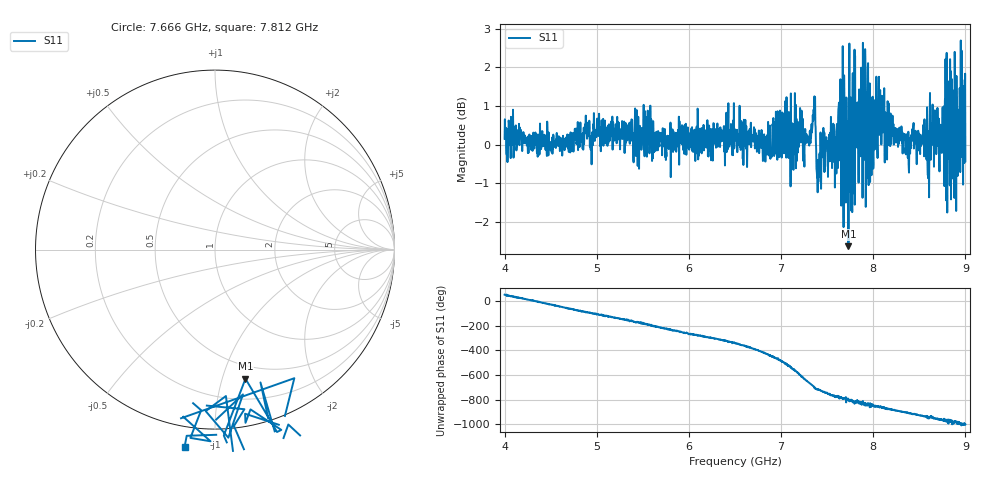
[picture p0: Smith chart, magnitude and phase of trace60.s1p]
! Created with skrf 1.8.0 (http://scikit-rf.org).
# Hz S RI R 50.0
!freq ReS11 ImS11
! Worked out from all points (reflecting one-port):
!   1601 points, 4 GHz to 9 GHz, reference 50 ohm
!   lowest |S11| = -2.6 dB at 7.731 GHz (marker M1), VSWR 6.67, Z = 18.8 - j59.6 ohm
!   phase of S11 starts at 52 deg and turns -1051 deg over the sweep
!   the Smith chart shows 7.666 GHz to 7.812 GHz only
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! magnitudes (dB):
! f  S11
! 4 GHz  0.2
! 4.625 GHz  -0.3
! 5.25 GHz  0.1
! 5.875 GHz  0.0
! 6.5 GHz  0.2
! 7.125 GHz  0.0
! 7.272 GHz  0.1
! 7.353 GHz  0.9
! 7.409 GHz  -0.7
! 7.466 GHz  -0.7
! 7.594 GHz  0.1
! 7.647 GHz  1.1
! 7.731 GHz  -2.6
! 7.75 GHz  -0.1
! 7.769 GHz  -0.9
! 7.822 GHz  -0.1
! 7.928 GHz  1.4
! 7.981 GHz  -0.8
! 8.05 GHz  0.8
! 8.375 GHz  -0.3
! 8.438 GHz  0.6
! 8.559 GHz  -0.2
! 8.584 GHz  1.0
! 8.656 GHz  0.3
! 8.819 GHz  0.8
! 8.919 GHz  -0.3
! 8.972 GHz  0.3
! 9 GHz  -0.4
